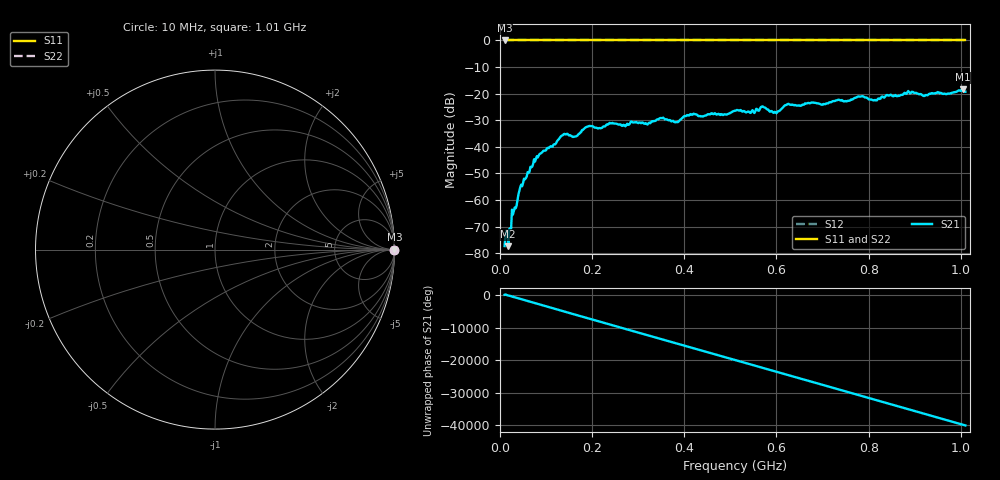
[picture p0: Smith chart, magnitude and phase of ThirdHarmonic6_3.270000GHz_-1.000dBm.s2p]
! 8/17/2025 10:06:58 AM
! C:\ANRITSUVNA\TEMP\TEMP.S2P
! CHANNEL.1
! TR.MEASUREMENT
! RAW.DATA
! RF.CORRECTION.OFF
! AVERAGING.OFF
! IF.BANDWIDTH: 5KHZ
! SWEEPTYPE:  FREQ.SWEEP(Linear)
! Reference Plane Port Info
! PORT:  PORT1  PORT2
! DISTANCE:  0  m  0  m
! TIME:  0  s  0  s
! PHASE.OFFSET:  0  deg.  0  deg.
! LOSS:  0  dB  0  dB
! REF.LOSS:  0  dB  0  dB
! REF.FREQ:  0  Hz  0  Hz
! Power Info
! POWER:  -20  dBm  -20  dBm
! EFF.POWER:  -20  dBm  -20  dBm
! SOURCE.ATTEN:  0  dB  0  dB
! TEST.ATTEN:  0  dB  0  dB
# GHZ S RI R 50.0
! FREQ.GHZ  S11RE  S11IM  S21RE  S21IM  S12RE  S12IM  S22RE  S22IM
!; PortSelection: Port_12
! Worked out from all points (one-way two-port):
!   501 points, 10 MHz to 1.01 GHz, reference 50 ohm
!   highest |S21| = -18.42 dB at 1.004 GHz (marker M1); lowest = -77.3 dB at 18 MHz (marker M2)
!   lowest |S11| = 0.0 dB at 10 MHz (marker M3)
!   |S11| at or under -10 dB: nowhere
!   |S22| runs from 0.0 to 0.0 dB; largest |S21 - S12| = 1.1
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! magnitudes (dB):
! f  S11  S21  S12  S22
! 10 MHz  0.0  -77.3  0.0  0.0
! 18 MHz  0.0  -77.3  0.0  0.0
! 44 MHz  0.0  -55.1  0.0  0.0
! 76 MHz  0.0  -45.5  0.0  0.0
! 136 MHz  0.0  -35.7  0.0  0.0
! 162 MHz  0.0  -36.1  0.0  0.0
! 178 MHz  0.0  -33.7  0.0  0.0
! 194 MHz  0.0  -32.1  0.0  0.0
! 344 MHz  0.0  -29.6  0.0  0.0
! 382 MHz  0.0  -30.7  0.0  0.0
! 416 MHz  0.0  -28.0  0.0  0.0
! 510 MHz  0.0  -26.4  0.0  0.0
! 548 MHz  0.0  -26.2  0.0  0.0
! 570 MHz  0.0  -24.8  0.0  0.0
! 598 MHz  0.0  -27.0  0.0  0.0
! 622 MHz  0.0  -24.2  0.0  0.0
! 678 MHz  0.0  -23.3  0.0  0.0
! 782 MHz  0.0  -21.1  0.0  0.0
! 814 MHz  0.0  -22.4  0.0  0.0
! 844 MHz  0.0  -20.8  0.0  0.0
! 1.004 GHz  0.0  -18.4  0.0  0.0
! 1.01 GHz  0.0  -19.3  0.0  0.0
